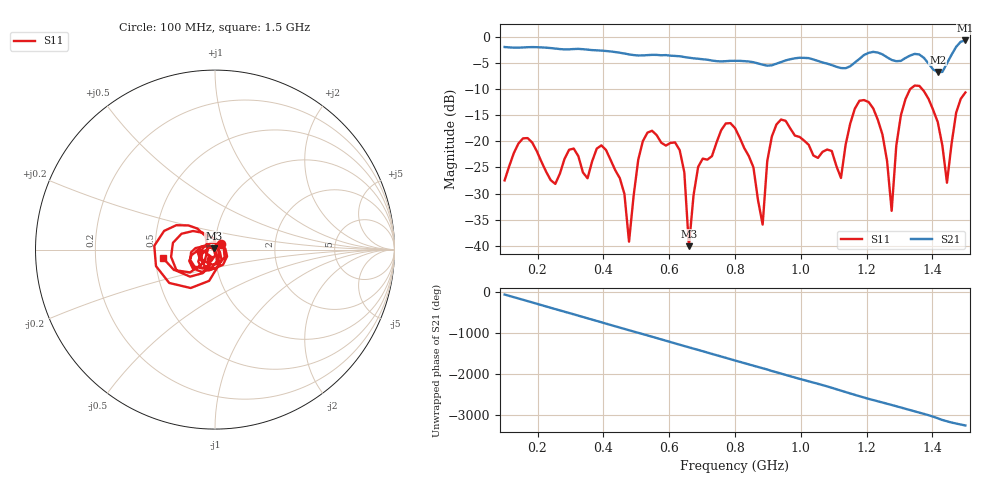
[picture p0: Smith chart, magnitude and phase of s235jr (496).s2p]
! NanoVNA-App
! Date: 2025-09-25 15:08:01
! Start: 100MHz Stop: 1,5GHz Points: 101
! S-Parameter data: F S11 S21 S12 S22
# Hz S RI R 50
!  Frequency  S11_Real  S11_Imag  S21_Real  S21_Imag  S12_Real  S12_Imag  S22_Real  S22_Imag
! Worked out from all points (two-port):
!   101 points, 100 MHz to 1.5 GHz, reference 50 ohm
!   highest |S21| = -0.71 dB at 1.5 GHz (marker M1); lowest = -6.8 dB at 1.416 GHz (marker M2)
!   |S21| within 3 dB of the highest: start of sweep to 626.9 MHz; 1.188 GHz to 1.257 GHz (68.66 MHz wide, 5.62 % of centre) (the widest 2 of 4)
!   lowest |S11| = -40.1 dB at 660 MHz (marker M3), VSWR 1.02, Z = 49.2 + j0.635 ohm
!   |S11| at or under -10 dB: start of sweep to 1.332 GHz; 1.368 GHz to end of sweep
!   S12 and S22 are empty: the file has one direction only
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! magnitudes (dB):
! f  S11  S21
! 100 MHz  -27.5  -2.0
! 156 MHz  -19.4  -2.0
! 338 MHz  -26.0  -2.4
! 408 MHz  -21.6  -2.7
! 478 MHz  -39.2  -3.4
! 520 MHz  -20.0  -3.6
! 576 MHz  -20.3  -3.5
! 632 MHz  -21.7  -3.7
! 660 MHz  -40.1  -4.0
! 688 MHz  -24.9  -4.2
! 800 MHz  -17.5  -4.6
! 884 MHz  -35.9  -5.3
! 926 MHz  -16.8  -5.1
! 1.038 GHz  -22.7  -4.3
! 1.122 GHz  -27.0  -6.0
! 1.206 GHz  -12.5  -3.1
! 1.276 GHz  -33.3  -4.4
! 1.29 GHz  -20.8  -4.7
! 1.332 GHz  -10.0  -3.6
! 1.416 GHz  -16.3  -6.8
! 1.444 GHz  -27.9  -5.1
! 1.5 GHz  -10.7  -0.7
